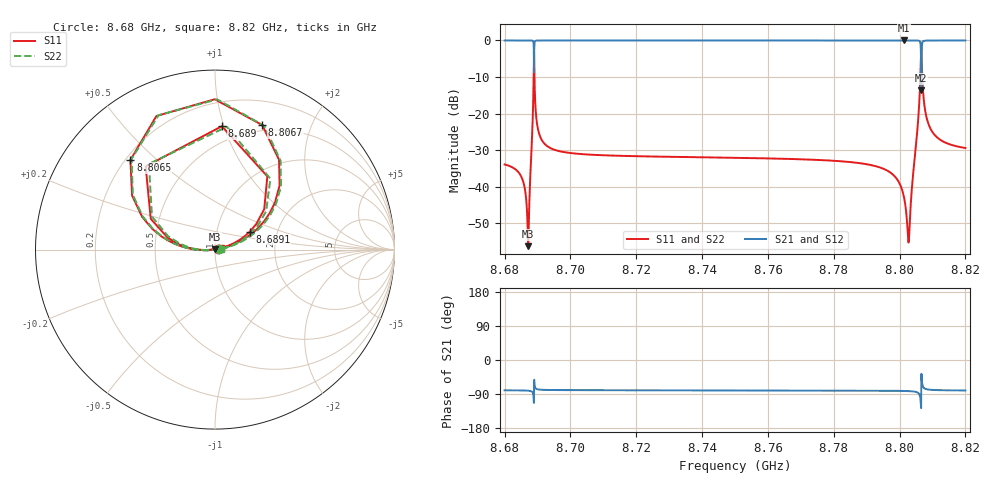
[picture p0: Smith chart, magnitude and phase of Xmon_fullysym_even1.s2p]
! Sonnet Data File
! From: emgraph Version : 16.52
! From Emgraph Data: 171117_Xmon_fullysym
! Data File Written: 11/17/2017 11:13:07
!< HDATE 11/17/2017 10:52:56
!< MDATE 11/17/2017 10:52:56
!< PARAMS
!< Lj = 11.0
!< Gap = 6.0
!< Pwid = 2000.0
!< Width = 10.0
!< END PARAMS
# GHZ S MA R 50.90000
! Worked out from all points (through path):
!   2801 points, 8.68 GHz to 8.82 GHz, reference 50.9 ohm
!   highest |S21| = 0.00 dB at 8.8013 GHz (marker M1); lowest = -13.6 dB at 8.8066 GHz (marker M2)
!   lowest |S11| = -56.3 dB at 8.6872 GHz (marker M3), VSWR 1.00, Z = 50.8 + j0.145 ohm
!   |S11| at or under -10 dB: start of sweep to 8.68882 GHz; 8.6891 GHz to 8.8063 GHz (117.2 MHz wide, 1.34 % of centre); 8.806905 GHz to end of sweep
!   |S22| runs from -60.0 to -1.5 dB; largest |S21 - S12| = 1.2e-10
!   S11 on the Smith chart (normalised r, x): 8.68 GHz: 1.04, +0.01; 8.689 GHz: 0.38, +0.98; 8.6891 GHz: 1.44, +0.30; 8.8065 GHz: 0.22, +0.41; 8.8067 GHz: 0.44, +1.35; 8.82 GHz: 1.07, +0.02
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8.68  0.02008 14.9  0.9998 -79.8  0.9998 -79.8  0.02008 5.6
!< P1 F=8.68 Eeff=(6.44684171 -2.9786e-5) Z0=(51.7993808 1.19076e-4) R=0.0 C=0.0
!< P2 F=8.68 Eeff=(6.44684171 -2.9786e-5) Z0=(51.7993808 1.19076e-4) R=0.0 C=0.0
8.6849  0.01414 16.1  0.9998 -80.2  0.9998 -80.2  0.01413 3.9
8.6872  0.001528 110.6  0.9997 -81.1  0.9997 -81.1  0.001003 -98.3
8.68845  0.0648 -177.7  0.9945 -84.8  0.9945 -84.8  0.06467 -177.8
8.68895  0.6884 86.8  0.3663 -55.5  0.3663 -55.5  0.6877 84.5
8.68915  0.2186 27.3  0.9593 -68.5  0.9593 -68.5  0.2184 24.4
8.69035  0.05568 14.9  0.998 -77.9  0.998 -77.9  0.05566 10.1
8.69205  0.03889 14.2  0.9992 -78.9  0.9992 -78.9  0.03888 8.3
8.70335  0.02783 14.1  0.9996 -79.6  0.9996 -79.6  0.02783 6.7
8.7267  0.0257 14.0  0.9997 -79.9  0.9997 -79.9  0.0257 6.1
8.75  0.02476 13.9  0.9997 -80.2  0.9997 -80.2  0.02476 5.7
8.77335  0.02333 13.8  0.9997 -80.5  0.9997 -80.5  0.02333 5.2
8.7967  0.0161 15.0  0.9998 -81.1  0.9998 -81.1  0.01609 2.9
8.8013  0.007304 21.8  0.9999 -81.7  0.9999 -81.7  0.007274 -4.1
8.80235  0.002911 43.8  0.9999 -82.0  0.9999 -82.0  0.002793 -24.2
8.803  0.002603 146.8  0.9998 -82.2  0.9998 -82.2  0.002418 -136.4
8.8065  0.6868 133.3  0.5898 -124.1  0.5898 -124.1  0.6863 132.6
8.8066  0.8376 90.1  0.209 -47.2  0.209 -47.2  0.8371 89.2
8.80665  0.7423 69.3  0.504 -36.4  0.504 -36.4  0.7419 68.2
8.80815  0.09017 15.0  0.9952 -77.0  0.9952 -77.0  0.09015 12.1
8.80995  0.05609 13.3  0.9983 -79.0  0.9983 -79.0  0.05608 9.2
8.82  0.03372 12.8  0.9994 -80.3  0.9994 -80.3  0.03372 6.6
